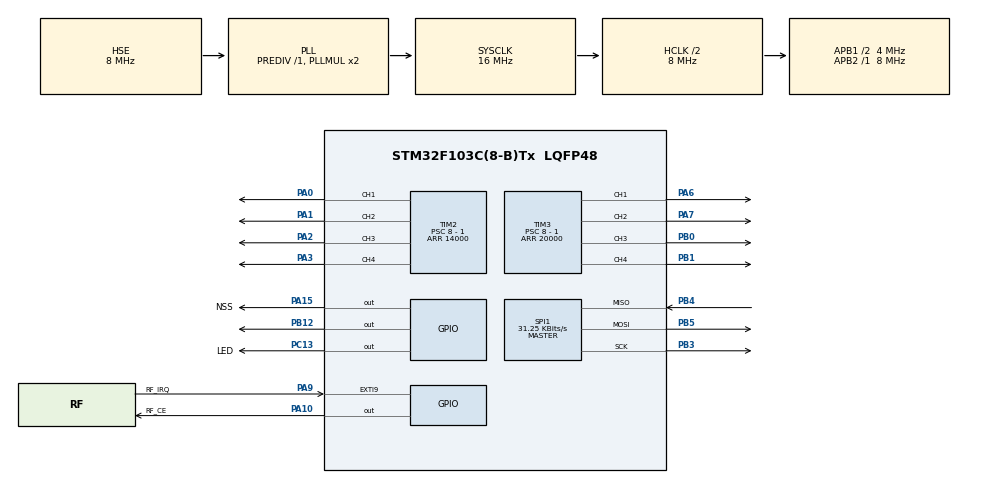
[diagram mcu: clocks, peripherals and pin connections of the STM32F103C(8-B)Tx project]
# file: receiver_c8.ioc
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Mcu.Family=STM32F1
Mcu.Name=STM32F103C(8-B)Tx
Mcu.Package=LQFP48
NVIC.EXTI9_5_IRQn=true\:0\:0\:false\:false\:true\:true\:true\:true
NVIC.PriorityGroup=NVIC_PRIORITYGROUP_4
NVIC.TIM4_IRQn=true\:0\:0\:false\:false\:true\:true\:true\:true
PA0-WKUP.Signal=S_TIM2_CH1_ETR
PA1.Signal=S_TIM2_CH2
PA10.GPIO_Label=RF_CE
PA10.Signal=GPIO_Output
PA13.Mode=Serial_Wire
PA13.Signal=SYS_JTMS-SWDIO
PA14.Mode=Serial_Wire
PA14.Signal=SYS_JTCK-SWCLK
PA15.GPIO_Label=NSS
PA15.PinState=GPIO_PIN_SET
PA15.Signal=GPIO_Output
PA2.Signal=S_TIM2_CH3
PA3.Signal=S_TIM2_CH4
PA6.Signal=S_TIM3_CH1
PA7.Signal=S_TIM3_CH2
PA9.GPIO_Label=RF_IRQ
PA9.GPIO_ModeDefaultEXTI=GPIO_MODE_IT_FALLING
PA9.Signal=GPXTI9
PB0.Signal=S_TIM3_CH3
PB1.Signal=S_TIM3_CH4
PB12.Signal=GPIO_Output
PB3.Mode=Full_Duplex_Master
PB3.Signal=SPI1_SCK
PB4.Mode=Full_Duplex_Master
PB4.Signal=SPI1_MISO
PB5.Mode=Full_Duplex_Master
PB5.Signal=SPI1_MOSI
PC13-TAMPER-RTC.GPIO_Label=LED
PC13-TAMPER-RTC.Signal=GPIO_Output
PC14-OSC32_IN.Mode=LSE-External-Oscillator
PC14-OSC32_IN.Signal=RCC_OSC32_IN
PC15-OSC32_OUT.Mode=LSE-External-Oscillator
PC15-OSC32_OUT.Signal=RCC_OSC32_OUT
PD0-OSC_IN.Mode=HSE-External-Oscillator
PD0-OSC_IN.Signal=RCC_OSC_IN
PD1-OSC_OUT.Mode=HSE-External-Oscillator
PD1-OSC_OUT.Signal=RCC_OSC_OUT
ProjectManager.HeapSize=0x200
ProjectManager.StackSize=0x400
ProjectManager.TargetToolchain=STM32CubeIDE
RCC.AHBCLKDivider=RCC_SYSCLK_DIV2
RCC.AHBFreq_Value=8000000
RCC.APB1CLKDivider=RCC_HCLK_DIV2
RCC.APB1Freq_Value=4000000
RCC.APB1TimFreq_Value=8000000
RCC.APB2Freq_Value=8000000
RCC.APB2TimFreq_Value=8000000
RCC.HCLKFreq_Value=8000000
RCC.PLLSourceVirtual=RCC_PLLSOURCE_HSE
RCC.SYSCLKFreq_VALUE=16000000
RCC.SYSCLKSource=RCC_SYSCLKSOURCE_PLLCLK
RCC.USBFreq_Value=16000000
SH.S_TIM2_CH1_ETR.0=TIM2_CH1,PWM Generation1 CH1
SH.S_TIM2_CH2.0=TIM2_CH2,PWM Generation2 CH2
SH.S_TIM2_CH3.0=TIM2_CH3,PWM Generation3 CH3
SH.S_TIM2_CH4.0=TIM2_CH4,PWM Generation4 CH4
SH.S_TIM3_CH1.0=TIM3_CH1,PWM Generation1 CH1
SH.S_TIM3_CH2.0=TIM3_CH2,PWM Generation2 CH2
SH.S_TIM3_CH3.0=TIM3_CH3,PWM Generation3 CH3
SH.S_TIM3_CH4.0=TIM3_CH4,PWM Generation4 CH4
SPI1.BaudRatePrescaler=SPI_BAUDRATEPRESCALER_256
SPI1.CalculateBaudRate=31.25 KBits/s
SPI1.Direction=SPI_DIRECTION_2LINES
SPI1.Mode=SPI_MODE_MASTER
SPI1.VirtualType=VM_MASTER
TIM2.Channel-PWM\ Generation1\ CH1=TIM_CHANNEL_1
TIM2.Channel-PWM\ Generation2\ CH2=TIM_CHANNEL_2
TIM2.Channel-PWM\ Generation3\ CH3=TIM_CHANNEL_3
TIM2.Channel-PWM\ Generation4\ CH4=TIM_CHANNEL_4
TIM2.Period=14000
TIM2.Prescaler=8 - 1
TIM3.Channel-PWM\ Generation1\ CH1=TIM_CHANNEL_1
TIM3.Channel-PWM\ Generation2\ CH2=TIM_CHANNEL_2
TIM3.Channel-PWM\ Generation3\ CH3=TIM_CHANNEL_3
TIM3.Channel-PWM\ Generation4\ CH4=TIM_CHANNEL_4
TIM3.Period=20000
TIM3.Prescaler=8 - 1
TIM4.Channel-PWM\ Generation1\ No\ Output=TIM_CHANNEL_1
TIM4.Period=1000
TIM4.Prescaler=8 - 1
VP_TIM4_VS_no_output1.Mode=PWM Generation1 No Output
board=custom

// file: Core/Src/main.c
/* USER CODE BEGIN Header */
/**
  ******************************************************************************
  * @file           : main.c
  * @brief          : Main program body
  ******************************************************************************
  * @attention
  *
  * Copyright (c) 2024 STMicroelectronics.
  * All rights reserved.
  *
  * This software is licensed under terms that can be found in the LICENSE file
  * in the root directory of this software component.
  * If no LICENSE file comes with this software, it is provided AS-IS.
  *
  ******************************************************************************
  */
/* USER CODE END Header */
#include "main.h"
#include "spi.h"
#include "tim.h"
#include "gpio.h"

/* USER CODE BEGIN Includes */
#include "nrf24l01p.h"
/* USER CODE END Includes */

/* USER CODE BEGIN PD */
#define ADC_DATA_SIZE	8
#define MAGIC_REMOTE	'R'
#define MAGIC_USB		'U'
/* USER CODE END PD */

/* USER CODE BEGIN PV */
static uint32_t buzzer_count;
/* USER CODE END PV */

void SystemClock_Config(void);

/* USER CODE BEGIN 0 */
uint8_t rx_data[NRF24L01P_PAYLOAD_LENGTH] = { 0, };
uint16_t adc_data[ADC_DATA_SIZE];

#define MAX_PWM_COUNT		14000

#define PWM_PERIOD			14
#define PWM_PERIOD_ZERO		1.0
#define PWM_PERIOD_MAX		2.0

#define MAX_ADC_VALUE		4095

void setup_channel(int ch, int data)
{
	float mapped_value = 1.0 * (PWM_PERIOD_MAX - PWM_PERIOD_ZERO) * data / MAX_ADC_VALUE;
	mapped_value += PWM_PERIOD_ZERO;

	float pwm_percent = mapped_value / PWM_PERIOD;
	uint16_t timer_count = pwm_percent * MAX_PWM_COUNT;

	switch (ch)
	{
	case 0:
		htim2.Instance->CCR1 = timer_count;
		break;
	case 1:
		htim2.Instance->CCR2 = timer_count;
		break;
	case 2:
		htim2.Instance->CCR3 = timer_count;
		break;
	case 3:
		htim2.Instance->CCR4 = timer_count;
		break;
	case 4:
		htim3.Instance->CCR1 = timer_count;
		break;
	case 5:
		htim3.Instance->CCR2 = timer_count;
		break;
	case 6:
		htim3.Instance->CCR3 = timer_count;
		break;
	case 7:
		htim3.Instance->CCR4 = timer_count;
		break;
	}
}

// NRF24L01 received one message --> IRQ handler --> adjust PWM width

// for RX interrupt
void HAL_GPIO_EXTI_Callback(uint16_t GPIO_Pin)
{
	if(GPIO_Pin == NRF24L01P_IRQ_PIN_NUMBER)
	{
		nrf24l01p_rx_receive(rx_data); // read data when data ready flag is set

		if (rx_data[0] == MAGIC_REMOTE)
		{
			for (int i = 1; i <= 16; i ++)
			{
				((uint8_t *)adc_data)[i - 1] = rx_data[i];
			}

			for (int i = 0; i < 8; i ++)
			{
				setup_channel(i, adc_data[i]);
			}
		}
	}
}

void HAL_TIM_PeriodElapsedCallback(TIM_HandleTypeDef *htim)
{
	if (htim == &htim4)
	{
		if (buzzer_count > 0)
		{
			buzzer_count --;
			HAL_GPIO_TogglePin(GPIOB, GPIO_PIN_12);
		}
	}
}

void buzz(int milliseconds)
{
	// 500HZ --> 2ms
	// use toggle to control GPIO pin, should multiply 2

	buzzer_count = milliseconds;
}
/* USER CODE END 0 */

int main(void)
{

  /* MCU Configuration--------------------------------------------------------*/

  /* Reset of all peripherals, Initializes the Flash interface and the Systick. */
  HAL_Init();

  /* Configure the system clock */
  SystemClock_Config();

  /* Initialize all configured peripherals */
  MX_GPIO_Init();
  MX_SPI1_Init();
  MX_TIM2_Init();
  MX_TIM3_Init();
  MX_TIM4_Init();
  /* USER CODE BEGIN 2 */
  nrf24l01p_rx_init(2500, _250kbps);

  HAL_TIM_PWM_Start(&htim2, TIM_CHANNEL_1);
  HAL_TIM_PWM_Start(&htim2, TIM_CHANNEL_2);
  HAL_TIM_PWM_Start(&htim2, TIM_CHANNEL_3);
  HAL_TIM_PWM_Start(&htim2, TIM_CHANNEL_4);

  HAL_TIM_PWM_Start(&htim3, TIM_CHANNEL_1);
  HAL_TIM_PWM_Start(&htim3, TIM_CHANNEL_2);
  HAL_TIM_PWM_Start(&htim3, TIM_CHANNEL_3);
  HAL_TIM_PWM_Start(&htim3, TIM_CHANNEL_4);

  HAL_TIM_Base_Start_IT(&htim4);

  buzz(1000);

  /* USER CODE END 2 */

  /* Infinite loop */
  while (1)
  {

  }
}

void SystemClock_Config(void)
{
  RCC_OscInitTypeDef RCC_OscInitStruct = {0};
  RCC_ClkInitTypeDef RCC_ClkInitStruct = {0};

  /** Initializes the RCC Oscillators according to the specified parameters
  * in the RCC_OscInitTypeDef structure.
  */
  RCC_OscInitStruct.OscillatorType = RCC_OSCILLATORTYPE_HSE;
  RCC_OscInitStruct.HSEState = RCC_HSE_ON;
  RCC_OscInitStruct.HSEPredivValue = RCC_HSE_PREDIV_DIV1;
  RCC_OscInitStruct.HSIState = RCC_HSI_ON;
  RCC_OscInitStruct.PLL.PLLState = RCC_PLL_ON;
  RCC_OscInitStruct.PLL.PLLSource = RCC_PLLSOURCE_HSE;
  RCC_OscInitStruct.PLL.PLLMUL = RCC_PLL_MUL2;
  if (HAL_RCC_OscConfig(&RCC_OscInitStruct) != HAL_OK)
  {
    Error_Handler();
  }

  /** Initializes the CPU, AHB and APB buses clocks
  */
  RCC_ClkInitStruct.ClockType = RCC_CLOCKTYPE_HCLK|RCC_CLOCKTYPE_SYSCLK
                              |RCC_CLOCKTYPE_PCLK1|RCC_CLOCKTYPE_PCLK2;
  RCC_ClkInitStruct.SYSCLKSource = RCC_SYSCLKSOURCE_PLLCLK;
  RCC_ClkInitStruct.AHBCLKDivider = RCC_SYSCLK_DIV2;
  RCC_ClkInitStruct.APB1CLKDivider = RCC_HCLK_DIV2;
  RCC_ClkInitStruct.APB2CLKDivider = RCC_HCLK_DIV1;

  if (HAL_RCC_ClockConfig(&RCC_ClkInitStruct, FLASH_LATENCY_0) != HAL_OK)
  {
    Error_Handler();
  }
}

void Error_Handler(void)
{
  __disable_irq();
  while (1)
  {
  }
}
